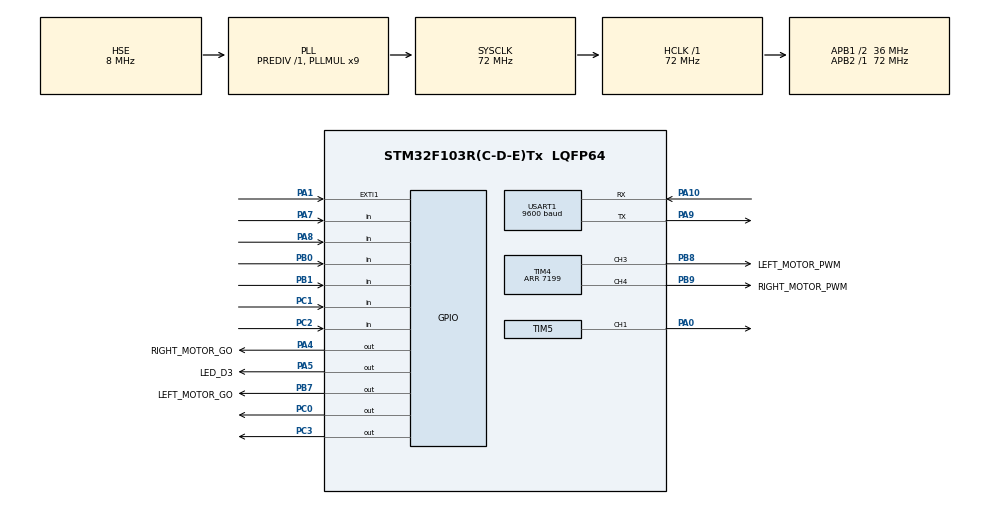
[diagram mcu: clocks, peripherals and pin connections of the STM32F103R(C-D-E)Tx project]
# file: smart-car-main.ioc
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Mcu.Family=STM32F1
Mcu.Name=STM32F103R(C-D-E)Tx
Mcu.Package=LQFP64
NVIC.EXTI1_IRQn=true\:0\:0\:false\:false\:true\:true\:true\:true
NVIC.PriorityGroup=NVIC_PRIORITYGROUP_4
NVIC.TIM2_IRQn=true\:0\:0\:false\:false\:true\:true\:true\:true
NVIC.TIM4_IRQn=true\:0\:0\:false\:false\:true\:true\:true\:true
NVIC.TIM5_IRQn=true\:0\:0\:false\:false\:true\:true\:true\:true
NVIC.USART1_IRQn=true\:0\:0\:false\:false\:true\:true\:true\:true
PA0-WKUP.Signal=S_TIM5_CH1
PA1.GPIO_ModeDefaultEXTI=GPIO_MODE_IT_RISING_FALLING
PA1.GPIO_PuPd=GPIO_PULLUP
PA1.Signal=GPXTI1
PA10.Mode=Asynchronous
PA10.Signal=USART1_RX
PA13.Mode=Serial_Wire
PA13.Signal=SYS_JTMS-SWDIO
PA14.Mode=Serial_Wire
PA14.Signal=SYS_JTCK-SWCLK
PA4.GPIO_Label=RIGHT_MOTOR_GO
PA4.GPIO_Speed=GPIO_SPEED_FREQ_HIGH
PA4.Signal=GPIO_Output
PA5.GPIO_Label=LED_D3
PA5.GPIO_Speed=GPIO_SPEED_FREQ_HIGH
PA5.Signal=GPIO_Output
PA7.GPIO_PuPd=GPIO_PULLUP
PA7.Signal=GPIO_Input
PA8.GPIO_PuPd=GPIO_PULLUP
PA8.Signal=GPIO_Input
PA9.Mode=Asynchronous
PA9.Signal=USART1_TX
PB0.GPIO_PuPd=GPIO_PULLUP
PB0.Signal=GPIO_Input
PB1.GPIO_PuPd=GPIO_PULLUP
PB1.Signal=GPIO_Input
PB7.GPIO_Label=LEFT_MOTOR_GO
PB7.GPIO_Speed=GPIO_SPEED_FREQ_HIGH
PB7.Signal=GPIO_Output
PB8.GPIO_Label=LEFT_MOTOR_PWM
PB8.Signal=S_TIM4_CH3
PB9.GPIO_Label=RIGHT_MOTOR_PWM
PB9.Signal=S_TIM4_CH4
PC0.GPIO_Speed=GPIO_SPEED_FREQ_HIGH
PC0.Signal=GPIO_Output
PC1.GPIO_PuPd=GPIO_PULLDOWN
PC1.Signal=GPIO_Input
PC14-OSC32_IN.Mode=LSE-External-Oscillator
PC14-OSC32_IN.Signal=RCC_OSC32_IN
PC15-OSC32_OUT.Mode=LSE-External-Oscillator
PC15-OSC32_OUT.Signal=RCC_OSC32_OUT
PC2.GPIO_PuPd=GPIO_PULLUP
PC2.Signal=GPIO_Input
PC3.GPIO_PuPd=GPIO_PULLUP
PC3.Signal=GPIO_Output
PD0-OSC_IN.Mode=HSE-External-Oscillator
PD0-OSC_IN.Signal=RCC_OSC_IN
PD1-OSC_OUT.Mode=HSE-External-Oscillator
PD1-OSC_OUT.Signal=RCC_OSC_OUT
ProjectManager.HeapSize=0x200
ProjectManager.StackSize=0x400
ProjectManager.TargetToolchain=MDK-ARM V5.32
RCC.AHBFreq_Value=72000000
RCC.APB1CLKDivider=RCC_HCLK_DIV2
RCC.APB1Freq_Value=36000000
RCC.APB1TimFreq_Value=72000000
RCC.APB2Freq_Value=72000000
RCC.APB2TimFreq_Value=72000000
RCC.HCLKFreq_Value=72000000
RCC.PLLMUL=RCC_PLL_MUL9
RCC.PLLSourceVirtual=RCC_PLLSOURCE_HSE
RCC.SYSCLKFreq_VALUE=72000000
RCC.SYSCLKSource=RCC_SYSCLKSOURCE_PLLCLK
RCC.USBFreq_Value=72000000
SH.S_TIM4_CH3.0=TIM4_CH3,PWM Generation3 CH3
SH.S_TIM4_CH4.0=TIM4_CH4,PWM Generation4 CH4
SH.S_TIM5_CH1.0=TIM5_CH1,PWM Generation1 CH1
TIM2.Prescaler=71
TIM4.AutoReloadPreload=TIM_AUTORELOAD_PRELOAD_ENABLE
TIM4.Channel-PWM\ Generation3\ CH3=TIM_CHANNEL_3
TIM4.Channel-PWM\ Generation4\ CH4=TIM_CHANNEL_4
TIM4.OCMode_PWM-PWM\ Generation3\ CH3=TIM_OCMODE_PWM2
TIM4.OCMode_PWM-PWM\ Generation4\ CH4=TIM_OCMODE_PWM2
TIM4.Period=7199
TIM5.AutoReloadPreload=TIM_AUTORELOAD_PRELOAD_ENABLE
TIM5.Channel-PWM\ Generation1\ CH1=TIM_CHANNEL_1
TIM5.Period=9999
TIM5.Prescaler=143
USART1.BaudRate=9600
USART1.VirtualMode=VM_ASYNC
VP_TIM2_VS_ClockSourceINT.Mode=Internal
VP_TIM4_VS_ClockSourceINT.Mode=Internal
VP_TIM5_VS_ClockSourceINT.Mode=Internal
board=custom

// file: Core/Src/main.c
/* USER CODE BEGIN Header */
/**
  ******************************************************************************
  * @file           : main.c
  * @brief          : Main program body
  ******************************************************************************
  * @attention
  *
  * Copyright (c) 2025 STMicroelectronics.
  * All rights reserved.
  *
  * This software is licensed under terms that can be found in the LICENSE file
  * in the root directory of this software component.
  * If no LICENSE file comes with this software, it is provided AS-IS.
  *
  ******************************************************************************
  */
/* USER CODE END Header */

#include "main.h"
#include "tim.h"
#include "usart.h"
#include "gpio.h"

/* USER CODE BEGIN Includes */
#include "motor.h"
#include "keysacn.h"
#include "IRSEARCH.h"
#include "IRAvoid.h"
#include "servo.h"
#include "remote.h"
/* USER CODE END Includes */

/* USER CODE BEGIN PTD */
typedef enum
{
  MODE_TRACK = 0,
  MODE_REMOTE
} CarMode;
/* USER CODE END PTD */

/* USER CODE BEGIN PD */
#define REMOTE_HOLD_MS          800U
#define OBSTACLE_DEBOUNCE_MS     30U

#define REMOTE_KEY_FORWARD       70U
#define REMOTE_KEY_STOP          21U
#define REMOTE_KEY_LEFT          68U
#define REMOTE_KEY_RIGHT         67U
#define REMOTE_KEY_SPIN_LEFT    224U
#define REMOTE_KEY_REVERSE       64U
#define REMOTE_KEY_SPIN_RIGHT   144U
#define REMOTE_KEY_TOGGLE_MODE   12U
/* USER CODE END PD */

/* USER CODE BEGIN PV */
uint8_t g_bt_data = 0;

static CarMode g_mode = MODE_TRACK;
static uint32_t last_remote_time = 0;
static uint32_t obstacle_start_time = 0;
/* USER CODE END PV */

void SystemClock_Config(void);
/* USER CODE BEGIN PFP */
static uint8_t AnyObstacleDetected(void);
static uint8_t ObstacleDebounced(uint32_t now);
static void RemoteExec(uint8_t key);
/* USER CODE END PFP */

/* USER CODE BEGIN 0 */
static uint8_t AnyObstacleDetected(void)
{
  return (AVOID_LEFT_IO == BARRIER_Y) ||
         (AVOID_RIGHT_IO == BARRIER_Y);
}

static uint8_t ObstacleDebounced(uint32_t now)
{
  if (AnyObstacleDetected())
  {
    if (obstacle_start_time == 0U)
    {
      obstacle_start_time = now;
    }
    return (now - obstacle_start_time) >= OBSTACLE_DEBOUNCE_MS;
  }

  obstacle_start_time = 0U;
  return 0U;
}

static void RemoteExec(uint8_t key)
{
  switch (key)
  {
    case REMOTE_KEY_FORWARD:
      ZYSTM32_run(80, 0);
      break;

    case REMOTE_KEY_STOP:
      g_mode = MODE_REMOTE;
      ZYSTM32_brake(0);
      BEEP_SET;
      HAL_Delay(50);
      BEEP_RESET;
      break;

    case REMOTE_KEY_LEFT:
      ZYSTM32_Left(80, 0);
      break;

    case REMOTE_KEY_RIGHT:
      ZYSTM32_Right(80, 0);
      break;

    case REMOTE_KEY_SPIN_LEFT:
      ZYSTM32_Spin_Left(80, 0);
      break;

    case REMOTE_KEY_REVERSE:
      ZYSTM32_back(80, 0);
      break;

    case REMOTE_KEY_SPIN_RIGHT:
      ZYSTM32_Spin_Right(80, 0);
      break;

    case REMOTE_KEY_TOGGLE_MODE:
      if (g_mode == MODE_TRACK)
      {
        g_mode = MODE_REMOTE;
        ZYSTM32_brake(0);
      }
      else
      {
        g_mode = MODE_TRACK;
      }
      BEEP_SET;
      HAL_Delay(200);
      BEEP_RESET;
      break;

    default:
      break;
  }
}
/* USER CODE END 0 */

int main(void)
{

  HAL_Init();
  SystemClock_Config();

  MX_GPIO_Init();
  MX_TIM2_Init();
  MX_TIM4_Init();
  MX_TIM5_Init();
  MX_USART1_UART_Init();

  /* USER CODE BEGIN 2 */
  KEY_Init();
  TIM4_PWM_Init();
  IRSearchInit();
  IRAvoidInit();

  TIM5_PWM_Init(0, 0);
  SetJointAngle(90.0f);

  ZYSTM32_brake(500);
  keysacn();
  Remote_Init();
  HAL_UART_Receive_IT(&huart1, &g_bt_data, 1);
  /* USER CODE END 2 */

  /* Infinite loop */
  while (1)
  {

    /* USER CODE BEGIN 3 */
    uint32_t now = HAL_GetTick();
    uint8_t remote_key = Remote_Scan();

    if (remote_key > 0U)
    {
      last_remote_time = now;
      RemoteExec(remote_key);
    }

    /* A recent remote command temporarily owns the motors. */
    if ((now - last_remote_time) >= REMOTE_HOLD_MS)
    {
      if (g_mode == MODE_TRACK)
      {
        if (ObstacleDebounced(now))
        {
          AVoidRun();
        }
        else
        {
          SearchRun();
        }
      }
      else
      {
        ZYSTM32_brake(0);
      }
    }
  }
  /* USER CODE END 3 */
}

void SystemClock_Config(void)
{
  RCC_OscInitTypeDef RCC_OscInitStruct = {0};
  RCC_ClkInitTypeDef RCC_ClkInitStruct = {0};

  RCC_OscInitStruct.OscillatorType = RCC_OSCILLATORTYPE_HSE;
  RCC_OscInitStruct.HSEState = RCC_HSE_ON;
  RCC_OscInitStruct.HSEPredivValue = RCC_HSE_PREDIV_DIV1;
  RCC_OscInitStruct.HSIState = RCC_HSI_ON;
  RCC_OscInitStruct.PLL.PLLState = RCC_PLL_ON;
  RCC_OscInitStruct.PLL.PLLSource = RCC_PLLSOURCE_HSE;
  RCC_OscInitStruct.PLL.PLLMUL = RCC_PLL_MUL9;
  if (HAL_RCC_OscConfig(&RCC_OscInitStruct) != HAL_OK)
  {
    Error_Handler();
  }

  RCC_ClkInitStruct.ClockType = RCC_CLOCKTYPE_HCLK | RCC_CLOCKTYPE_SYSCLK |
                                RCC_CLOCKTYPE_PCLK1 | RCC_CLOCKTYPE_PCLK2;
  RCC_ClkInitStruct.SYSCLKSource = RCC_SYSCLKSOURCE_PLLCLK;
  RCC_ClkInitStruct.AHBCLKDivider = RCC_SYSCLK_DIV1;
  RCC_ClkInitStruct.APB1CLKDivider = RCC_HCLK_DIV2;
  RCC_ClkInitStruct.APB2CLKDivider = RCC_HCLK_DIV1;

  if (HAL_RCC_ClockConfig(&RCC_ClkInitStruct, FLASH_LATENCY_2) != HAL_OK)
  {
    Error_Handler();
  }
}

/* USER CODE BEGIN 4 */
void HAL_GPIO_EXTI_Callback(uint16_t GPIO_Pin)
{
  if (GPIO_Pin == GPIO_PIN_1)
  {
    Remote_EXTI_Handler(GPIO_Pin);
  }
}

void HAL_UART_RxCpltCallback(UART_HandleTypeDef *huart)
{
  BEEP_SET;
  if (huart->Instance == USART1)
  {
    BEEP_SET;
    ZYSTM32_run(60, 100);
    BEEP_RESET;

    HAL_UART_Receive_IT(&huart1, &g_bt_data, 1);
    BEEP_SET;
    ZYSTM32_run(60, 100);
    BEEP_RESET;
  }
}
/* USER CODE END 4 */

void Error_Handler(void)
{
  __disable_irq();
  while (1)
  {
  }
}

#ifdef USE_FULL_ASSERT
/**
  * @brief  Reports the name of the source file and the line number.
  * @param  file Source file name
  * @param  line Source line number
  * @retval None
  */
void assert_failed(uint8_t *file, uint32_t line)
{
  /* USER CODE BEGIN 6 */
  (void)file;
  (void)line;
  /* USER CODE END 6 */
}
#endif /* USE_FULL_ASSERT */

/************************ (C) COPYRIGHT STMicroelectronics *****END OF FILE****/
